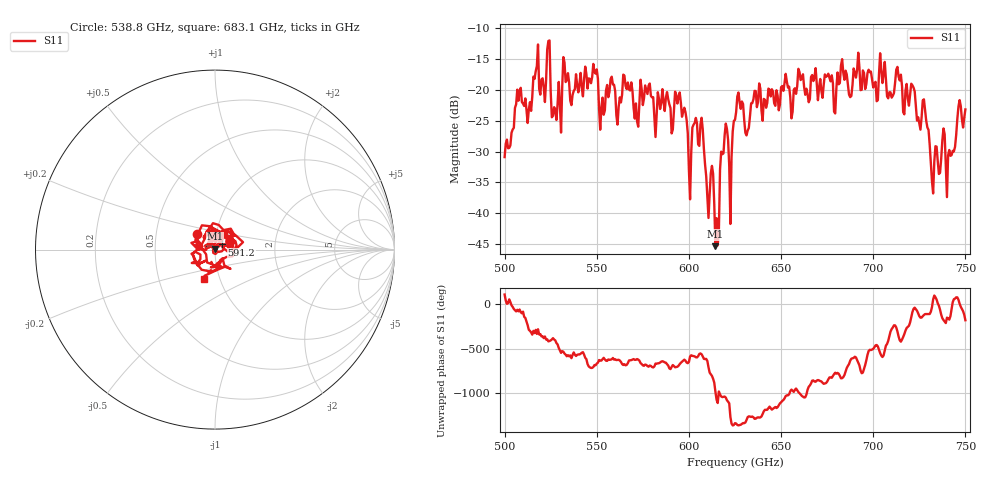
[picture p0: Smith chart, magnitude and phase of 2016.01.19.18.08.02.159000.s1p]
!Created with skrf (http://scikit-rf.org).
# GHz S RI R 50.0
!freq ReS11 ImS11
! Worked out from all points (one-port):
!   401 points, 500 GHz to 750 GHz, reference 50 ohm
!   lowest |S11| = -45.3 dB at 614.4 GHz (marker M1), VSWR 1.01, Z = 49.9 + j0.538 ohm
!   |S11| at or under -10 dB: start of sweep to end of sweep
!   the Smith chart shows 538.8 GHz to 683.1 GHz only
!   S11 on the Smith chart (normalised r, x): 538.8 GHz: 0.81, +0.15; 591.2 GHz: 1.08, +0.06; 683.1 GHz: 0.84, -0.29
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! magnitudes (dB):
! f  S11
! 500 GHz  -30.9
! 507.5 GHz  -21.8
! 513.8 GHz  -22.0
! 516.9 GHz  -17.0
! 520.6 GHz  -18.2
! 523.8 GHz  -12.1
! 526.9 GHz  -22.8
! 531.2 GHz  -19.6
! 538.8 GHz  -17.5
! 562.5 GHz  -21.2
! 565.6 GHz  -19.4
! 591.2 GHz  -26.5
! 593.8 GHz  -22.2
! 600 GHz  -33.0
! 606.9 GHz  -24.5
! 614.4 GHz  -45.3
! 615.6 GHz  -45.2
! 618.8 GHz  -30.3
! 622.5 GHz  -41.7
! 625 GHz  -24.9
! 656.2 GHz  -23.6
! 683.1 GHz  -15.1
! 687.5 GHz  -21.2
! 705 GHz  -18.9
! 718.8 GHz  -21.4
! 728.1 GHz  -23.3
! 731.9 GHz  -34.8
! 750 GHz  -23.2
